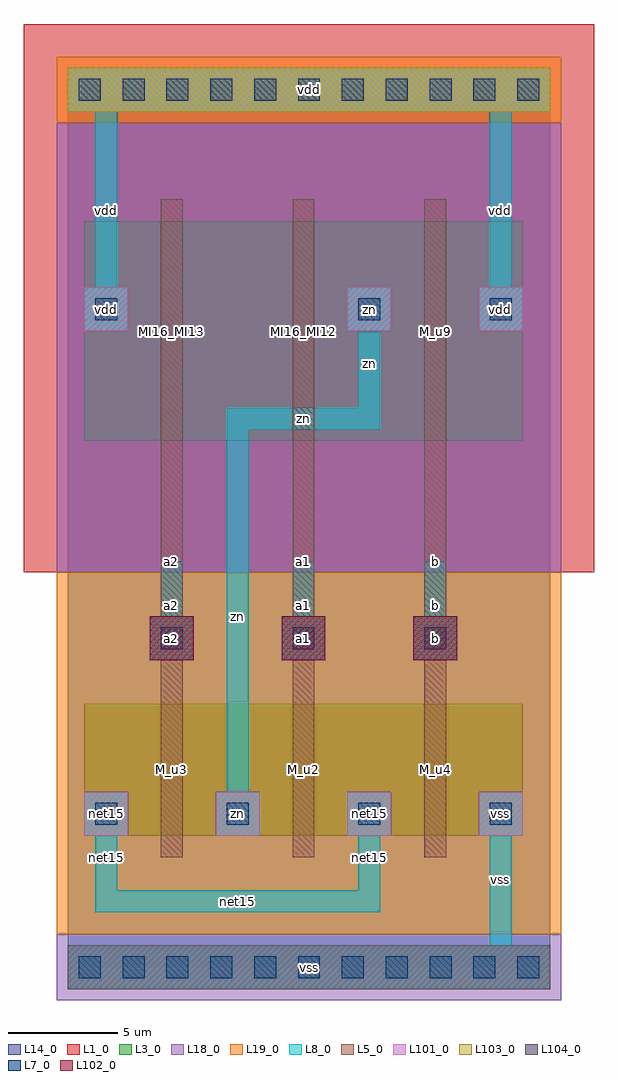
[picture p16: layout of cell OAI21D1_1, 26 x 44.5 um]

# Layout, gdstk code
import gdstk
lib = gdstk.Library(unit=1e-6, precision=1e-09)
def R(c, l, rs):  # rectangles x0, y0, x1, y1
    for r in rs: c.add(gdstk.rectangle(r[:2], r[2:], *l))
def A(c, l, x, y, w, h, nx, ny, dx, dy):  # array of equal rectangles
    R(c, l, [(x+i*dx, y+j*dy, x+i*dx+w, y+j*dy+h) for i in range(nx) for j in range(ny)])
L1_0 = (1, 0)
L3_0 = (3, 0)
L5_0 = (5, 0)
L7_0 = (7, 0)
L8_0 = (8, 0)
L13_0 = (13, 0)
L14_0 = (14, 0)
L18_0 = (18, 0)
L19_0 = (19, 0)
L101_0 = (101, 0)
L102_0 = (102, 0)
L103_0 = (103, 0)
L104_0 = (104, 0)

oai21d1_1 = lib.new_cell('OAI21D1_1')
R(oai21d1_1, L1_0, [(-2,18,24,43)])
A(oai21d1_1, L3_0, 0.75, 6, 8, 6, 3, 1, 6, 0)
A(oai21d1_1, L3_0, 0.75, 6, 2, 2, 4, 1, 6, 0)
A(oai21d1_1, L3_0, 0.75, 24, 8, 10, 3, 1, 6, 0)
R(oai21d1_1, L3_0, [(0,-1,22,1), (0,-1,22,1), (0.75,29,2.75,31), (12.75,29,14.75,31), (18.75,29,20.75,31), (0,39,22,41), (0,39,22,41)])
A(oai21d1_1, L5_0, 4.25, 5, 1, 8, 3, 1, 6, 0)
A(oai21d1_1, L5_0, 4.25, 6.5, 1, 24, 3, 1, 6, 0)
A(oai21d1_1, L5_0, 3.75, 14, 2, 2, 3, 1, 6, 0)
A(oai21d1_1, L5_0, 4.25, 23, 1, 12, 3, 1, 6, 0)
A(oai21d1_1, L7_0, 0.5, -0.5, 1, 1, 11, 2, 2, 40)
A(oai21d1_1, L7_0, 1.25, 6.5, 1, 1, 4, 1, 6, 0)
A(oai21d1_1, L7_0, 4.25, 14.5, 1, 1, 3, 1, 6, 0)
R(oai21d1_1, L7_0, [(1.25,29.5,2.25,30.5), (13.25,29.5,14.25,30.5), (19.25,29.5,20.25,30.5)])
A(oai21d1_1, L8_0, 0.75, 6, 2, 2, 4, 1, 6, 0)
A(oai21d1_1, L8_0, 3.75, 14, 2, 2, 3, 1, 6, 0)
A(oai21d1_1, L8_0, 4.25, 14.5, 1, 4, 3, 1, 6, 0)
R(oai21d1_1, L8_0, [(0,-1,22,1), (19.25,0.5,20.25,7.5), (1.25,2.5,2.25,7.5), (1.25,2.5,14.25,3.5), (13.25,2.5,14.25,7.5), (7.25,6.5,8.25,25.5), (7.25,24.5,14.25,25.5), (13.25,24.5,14.25,30.5), (0.75,29,2.75,31), (12.75,29,14.75,31), (18.75,29,20.75,31), (1.25,29.5,2.25,39.5), (19.25,29.5,20.25,39.5), (0,39,22,41)])
R(oai21d1_1, L14_0, [(0,0,22,40)])
R(oai21d1_1, L18_0, [(-0.5,-1.5,22.5,1.5), (-0.5,18,22.5,38.5)])
R(oai21d1_1, L19_0, [(-0.5,1.5,22.5,18), (-0.5,38.5,22.5,41.5)])
A(oai21d1_1, L101_0, 0, -1, 2, 2, 11, 2, 2, 40)
A(oai21d1_1, L101_0, 0.75, 6, 2, 2, 4, 1, 6, 0)
R(oai21d1_1, L101_0, [(0.75,29,2.75,31), (12.75,29,14.75,31), (18.75,29,20.75,31)])
A(oai21d1_1, L102_0, 3.75, 14, 2, 2, 3, 1, 6, 0)
R(oai21d1_1, L103_0, [(0,39,22,41)])
R(oai21d1_1, L104_0, [(0,-1,22,1)])
oai21d1_1.add(gdstk.FlexPath([(0.75,3),(20.75,3)], 0, ends="flush", simple_path=True, layer=13, datatype=0))  # L13_0
oai21d1_1.add(gdstk.FlexPath([(0.75,7),(20.75,7)], 0, ends="flush", simple_path=True, layer=13, datatype=0))  # L13_0
oai21d1_1.add(gdstk.FlexPath([(0.75,11),(20.75,11)], 0, ends="flush", simple_path=True, layer=13, datatype=0))  # L13_0
oai21d1_1.add(gdstk.FlexPath([(0.75,15),(20.75,15)], 0, ends="flush", simple_path=True, layer=13, datatype=0))  # L13_0
oai21d1_1.add(gdstk.FlexPath([(0.75,18),(20.75,18)], 0, ends="flush", simple_path=True, layer=13, datatype=0))  # L13_0
oai21d1_1.add(gdstk.FlexPath([(0.75,21),(20.75,21)], 0, ends="flush", simple_path=True, layer=13, datatype=0))  # L13_0
oai21d1_1.add(gdstk.FlexPath([(0.75,25),(20.75,25)], 0, ends="flush", simple_path=True, layer=13, datatype=0))  # L13_0
oai21d1_1.add(gdstk.FlexPath([(0.75,30),(20.75,30)], 0, ends="flush", simple_path=True, layer=13, datatype=0))  # L13_0
oai21d1_1.add(gdstk.FlexPath([(0.75,33),(20.75,33)], 0, ends="flush", simple_path=True, layer=13, datatype=0))  # L13_0
oai21d1_1.add(gdstk.FlexPath([(0.75,37),(20.75,37)], 0, ends="flush", simple_path=True, layer=13, datatype=0))  # L13_0
oai21d1_1.add(gdstk.FlexPath([(1.75,0.5),(1.75,39.5)], 0, ends="flush", simple_path=True, layer=13, datatype=0))  # L13_0
oai21d1_1.add(gdstk.FlexPath([(4.75,0.5),(4.75,39.5)], 0, ends="flush", simple_path=True, layer=13, datatype=0))  # L13_0
oai21d1_1.add(gdstk.FlexPath([(7.75,0.5),(7.75,39.5)], 0, ends="flush", simple_path=True, layer=13, datatype=0))  # L13_0
oai21d1_1.add(gdstk.FlexPath([(10.75,0.5),(10.75,39.5)], 0, ends="flush", simple_path=True, layer=13, datatype=0))  # L13_0
oai21d1_1.add(gdstk.FlexPath([(13.75,0.5),(13.75,39.5)], 0, ends="flush", simple_path=True, layer=13, datatype=0))  # L13_0
oai21d1_1.add(gdstk.FlexPath([(16.75,0.5),(16.75,39.5)], 0, ends="flush", simple_path=True, layer=13, datatype=0))  # L13_0
oai21d1_1.add(gdstk.FlexPath([(19.75,0.5),(19.75,39.5)], 0, ends="flush", simple_path=True, layer=13, datatype=0))  # L13_0
oai21d1_1.add(gdstk.Label('M_u2', (10.75,9), layer=3, texttype=0))
oai21d1_1.add(gdstk.Label('M_u3', (4.75,9), layer=3, texttype=0))
oai21d1_1.add(gdstk.Label('M_u4', (16.75,9), layer=3, texttype=0))
oai21d1_1.add(gdstk.Label('MI16_MI12', (10.75,29), layer=3, texttype=0))
oai21d1_1.add(gdstk.Label('M_u9', (16.75,29), layer=3, texttype=0))
oai21d1_1.add(gdstk.Label('MI16_MI13', (4.75,29), layer=3, texttype=0))
oai21d1_1.add(gdstk.Label('zn', (7.75,7), layer=3, texttype=0))
oai21d1_1.add(gdstk.Label('zn', (13.75,30), layer=3, texttype=0))
oai21d1_1.add(gdstk.Label('net15', (13.75,7), layer=3, texttype=0))
oai21d1_1.add(gdstk.Label('net15', (1.75,7), layer=3, texttype=0))
oai21d1_1.add(gdstk.Label('vss', (19.75,7), layer=3, texttype=0))
oai21d1_1.add(gdstk.Label('vdd', (19.75,30), layer=3, texttype=0))
oai21d1_1.add(gdstk.Label('vdd', (1.75,30), layer=3, texttype=0))
oai21d1_1.add(gdstk.Label('a1', (10.75,18.5), layer=5, texttype=0))
oai21d1_1.add(gdstk.Label('a1', (10.75,15), layer=5, texttype=0))
oai21d1_1.add(gdstk.Label('a2', (4.75,18.5), layer=5, texttype=0))
oai21d1_1.add(gdstk.Label('a2', (4.75,15), layer=5, texttype=0))
oai21d1_1.add(gdstk.Label('b', (16.75,18.5), layer=5, texttype=0))
oai21d1_1.add(gdstk.Label('b', (16.75,15), layer=5, texttype=0))
oai21d1_1.add(gdstk.Label('zn', (7.75,7), layer=101, texttype=0))
oai21d1_1.add(gdstk.Label('zn', (13.75,30), layer=101, texttype=0))
oai21d1_1.add(gdstk.Label('net15', (13.75,7), layer=101, texttype=0))
oai21d1_1.add(gdstk.Label('net15', (1.75,7), layer=101, texttype=0))
oai21d1_1.add(gdstk.Label('vss', (19.75,7), layer=101, texttype=0))
oai21d1_1.add(gdstk.Label('vdd', (19.75,30), layer=101, texttype=0))
oai21d1_1.add(gdstk.Label('vdd', (1.75,30), layer=101, texttype=0))
oai21d1_1.add(gdstk.Label('a1', (10.75,15), layer=102, texttype=0))
oai21d1_1.add(gdstk.Label('a2', (4.75,15), layer=102, texttype=0))
oai21d1_1.add(gdstk.Label('b', (16.75,15), layer=102, texttype=0))
oai21d1_1.add(gdstk.Label('zn', (7.75,7), layer=8, texttype=0))
oai21d1_1.add(gdstk.Label('zn', (13.75,30), layer=8, texttype=0))
oai21d1_1.add(gdstk.Label('zn', (7.75,16), layer=8, texttype=0))
oai21d1_1.add(gdstk.Label('zn', (10.75,25), layer=8, texttype=0))
oai21d1_1.add(gdstk.Label('zn', (13.75,27.5), layer=8, texttype=0))
oai21d1_1.add(gdstk.Label('a1', (10.75,15), layer=8, texttype=0))
oai21d1_1.add(gdstk.Label('a1', (10.75,16.5), layer=8, texttype=0))
oai21d1_1.add(gdstk.Label('net15', (13.75,7), layer=8, texttype=0))
oai21d1_1.add(gdstk.Label('net15', (1.75,7), layer=8, texttype=0))
oai21d1_1.add(gdstk.Label('net15', (13.75,5), layer=8, texttype=0))
oai21d1_1.add(gdstk.Label('net15', (7.75,3), layer=8, texttype=0))
oai21d1_1.add(gdstk.Label('net15', (1.75,5), layer=8, texttype=0))
oai21d1_1.add(gdstk.Label('a2', (4.75,15), layer=8, texttype=0))
oai21d1_1.add(gdstk.Label('a2', (4.75,16.5), layer=8, texttype=0))
oai21d1_1.add(gdstk.Label('b', (16.75,15), layer=8, texttype=0))
oai21d1_1.add(gdstk.Label('b', (16.75,16.5), layer=8, texttype=0))
oai21d1_1.add(gdstk.Label('vss', (19.75,7), layer=8, texttype=0))
oai21d1_1.add(gdstk.Label('vss', (19.75,4), layer=8, texttype=0))
oai21d1_1.add(gdstk.Label('vdd', (19.75,30), layer=8, texttype=0))
oai21d1_1.add(gdstk.Label('vdd', (19.75,34.5), layer=8, texttype=0))
oai21d1_1.add(gdstk.Label('vdd', (1.75,30), layer=8, texttype=0))
oai21d1_1.add(gdstk.Label('vdd', (1.75,34.5), layer=8, texttype=0))
oai21d1_1.add(gdstk.Label('vss', (11,0), layer=8, texttype=0))
oai21d1_1.add(gdstk.Label('vdd', (11,40), layer=8, texttype=0))

lib.write_gds('OAI21D1_1.gds')
